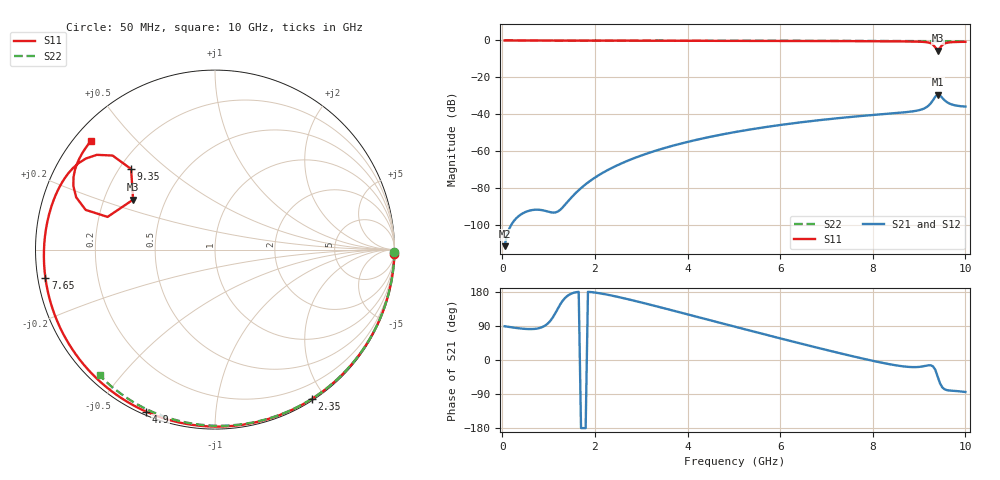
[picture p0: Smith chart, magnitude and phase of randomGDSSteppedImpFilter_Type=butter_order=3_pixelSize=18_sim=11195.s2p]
! freq	dB(S11)	phase(S11)	dB(S12)	phase(S12)
!  dB(S21)	phase(S21)	dB(S22)	phase(S22)
!S-par simulation data
#  GHz  S  DB  R 50
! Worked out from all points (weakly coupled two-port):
!   200 points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, 50 MHz to 10 GHz, reference 50 ohm
!   highest |S21| = -29.24 dB at 9.4 GHz (marker M1); lowest = -111.3 dB at 50 MHz (marker M2)
!   lowest |S11| = -5.4 dB at 9.4 GHz (marker M3), VSWR 3.30, Z = 16.2 + j12.7 ohm
!   |S11| at or under -10 dB: nowhere
!   |S22| runs from -0.4 to 0.0 dB; largest |S21 - S12| = 0
!   S11 on the Smith chart (normalised r, x): 50 MHz: 0, -91; 2.35 GHz: 0.02, -1.84; 4.9 GHz: 0.01, -0.66; 7.65 GHz: 0.02, -0.08; 9.35 GHz: 0.25, +0.38; 10 GHz: 0.05, +0.38
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0.05  -0.00 -1.3  -111.27 89.0  -111.27 89.0  -0.00 -0.8
0.85  -0.03 -21.1  -91.75 86.3  -91.75 86.3  -0.02 -12.9
1.65  -0.05 -40.6  -80.98 179.9  -80.98 179.9  -0.03 -24.9
1.75  -0.05 -43.0  -78.79 -179.6  -78.79 -179.6  -0.03 -26.4
2.35  -0.07 -57.1  -69.15 170.4  -69.15 170.4  -0.05 -35.2
3.4  -0.11 -80.9  -58.95 139.5  -58.95 139.5  -0.07 -50.2
4.15  -0.13 -97.2  -53.99 115.7  -53.99 115.7  -0.08 -60.6
4.9  -0.17 -113.0  -50.12 91.8  -50.12 91.8  -0.11 -70.7
5.05  -0.18 -116.1  -49.44 87.0  -49.44 87.0  -0.11 -72.6
6.7  -0.29 -150.2  -43.53 35.5  -43.53 35.5  -0.18 -93.6
7.65  -0.37 -170.6  -41.08 7.5  -41.08 7.5  -0.24 -105.1
8.35  -0.46 173.1  -39.58 -10.9  -39.58 -10.9  -0.29 -113.4
9.05  -0.72 152.4  -37.36 -17.5  -37.36 -17.5  -0.35 -121.5
9.25  -1.47 141.3  -34.06 -13.9  -34.06 -13.9  -0.37 -123.8
9.3  -2.22 137.4  -32.35 -16.7  -32.35 -16.7  -0.37 -124.4
9.35  -3.77 136.2  -30.42 -25.8  -30.42 -25.8  -0.38 -124.9
9.4  -5.44 148.6  -29.24 -43.1  -29.24 -43.1  -0.38 -125.5
9.45  -4.07 163.1  -29.71 -61.0  -29.71 -61.0  -0.38 -126.1
9.5  -2.45 162.9  -31.06 -72.0  -31.06 -72.0  -0.38 -126.7
9.55  -1.65 159.3  -32.34 -77.2  -32.34 -77.2  -0.39 -127.3
9.7  -0.93 150.3  -34.56 -81.0  -34.56 -81.0  -0.41 -129.0
10  -0.73 138.6  -35.76 -84.4  -35.76 -84.4  -0.44 -132.5
